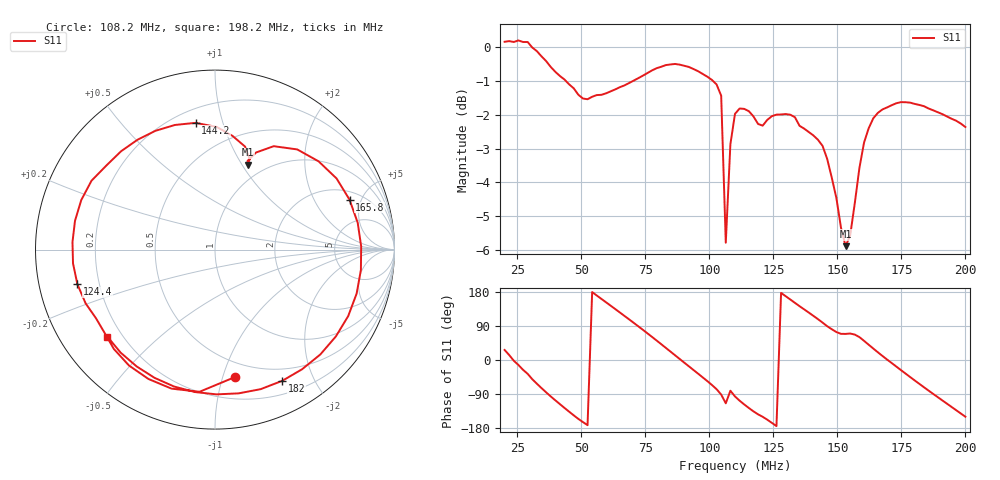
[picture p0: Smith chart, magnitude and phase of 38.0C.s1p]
# HZ S RI R 50
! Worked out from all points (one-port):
!   101 points, 20 MHz to 200 MHz, reference 50 ohm
!   lowest |S11| = -5.9 dB at 153.2 MHz (marker M1), VSWR 3.06, Z = 41.7 + j53.1 ohm
!   |S11| at or under -10 dB: nowhere
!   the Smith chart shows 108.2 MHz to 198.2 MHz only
!   S11 on the Smith chart (normalised r, x): 108.2 MHz: 0.37, -1.10; 124.4 MHz: 0.12, -0.12; 144.2 MHz: 0.28, +0.82; 165.8 MHz: 2.57, +3.97; 182 MHz: 0.35, -1.58; 198.2 MHz: 0.15, -0.35
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2e7  0.9127 0.4538
2.54e7  0.997 -0.2335
3.26e7  0.4549 -0.8761
4.34e7  -0.5332 -0.72
5.42e7  -0.8447 0.0106
6.5e7  -0.5072 0.7103
7.58e7  0.3082 0.8627
8.84e7  0.9417 0.0441
9.38e7  0.8311 -0.4145
1.01e8  0.3634 -0.8176
1.046e8  -0.0181 -0.8478
1.064e8  -0.211 -0.4678
1.082e8  0.1117 -0.7099
1.1e8  -0.0863 -0.7922
1.154e8  -0.4794 -0.6457
1.244e8  -0.7667 -0.1929
1.334e8  -0.6879 0.3841
1.442e8  -0.1083 0.7061
1.532e8  0.1828 0.4731
1.55e8  0.1814 0.4942
1.604e8  0.4582 0.5581
1.658e8  0.7494 0.2786
1.712e8  0.8129 -0.1133
1.784e8  0.5867 -0.5844
1.82e8  0.375 -0.731
1.892e8  -0.1116 -0.7936
1.982e8  -0.5999 -0.4842
2e8  -0.6576 -0.3847
